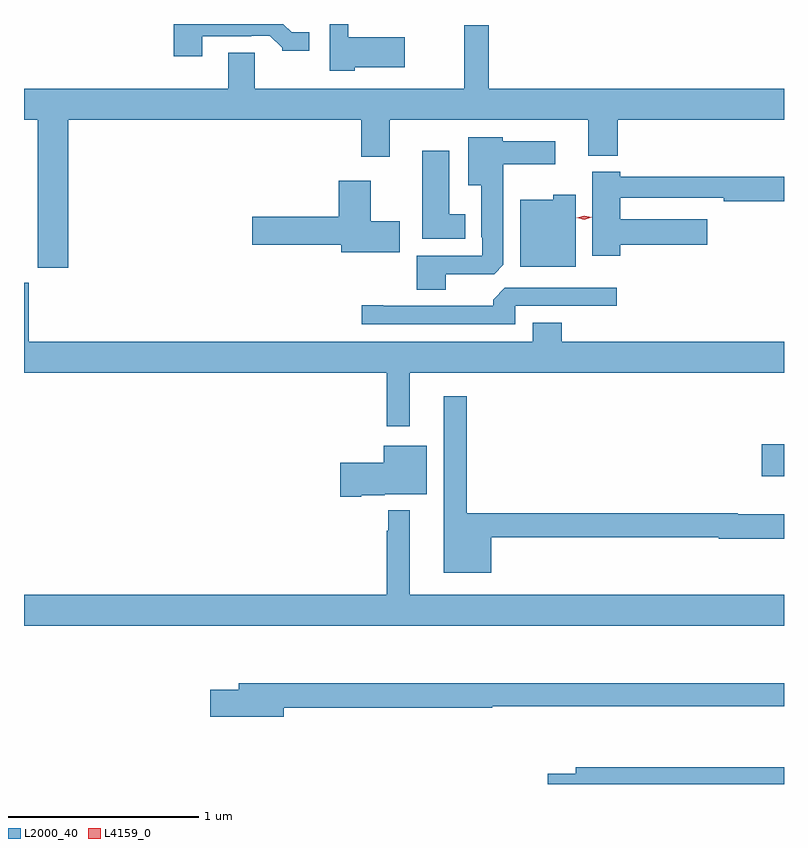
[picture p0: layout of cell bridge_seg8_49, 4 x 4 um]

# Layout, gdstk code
import gdstk
lib = gdstk.Library(unit=1e-6, precision=1e-09)
def R(c, l, rs):  # rectangles x0, y0, x1, y1
    for r in rs: c.add(gdstk.rectangle(r[:2], r[2:], *l))
def P(c, l, *ps):  # polygons
    for p in ps: c.add(gdstk.Polygon(p, *l))
L2000_40 = (2000, 40)
L4159_0 = (4159, 0)

bridge_seg8_49 = lib.new_cell('bridge_seg8_49')
R(bridge_seg8_49, L2000_40, [(1032.264,1122.617,1032.38,1122.783)])
P(bridge_seg8_49, L2000_40, [(1030.122,1124.768),(1030.384,1124.768),(1030.384,1124.926),(1030.086,1124.926),(1030.086,1124.996),(1029.99,1124.996),(1029.99,1124.75),(1030.122,1124.75)],
  [(1029.319,1124.931),(1029.575,1124.931),(1029.575,1124.934),(1029.674,1124.934),(1029.738,1124.87),(1029.738,1124.855),(1029.882,1124.855),(1029.882,1124.952),(1029.789,1124.952),(1029.745,1124.996),(1029.167,1124.996),(1029.167,1124.826),(1029.319,1124.826)],
  [(1028.612,1124.492),(1030.154,1124.492),(1030.154,1124.298),(1030.306,1124.298),(1030.306,1124.492),(1031.351,1124.492),(1031.351,1124.303),(1031.504,1124.303),(1031.504,1124.492),(1032.38,1124.492),(1032.38,1124.656),(1030.826,1124.656),(1030.826,1124.989),(1030.698,1124.989),(1030.698,1124.656),(1029.595,1124.656),(1029.595,1124.846),(1029.455,1124.846),(1029.455,1124.656),(1028.38,1124.656),(1028.38,1124.492),(1028.452,1124.492),(1028.452,1123.713),(1028.612,1123.713)],
  [(1030.6,1123.68),(1030.854,1123.68),(1030.903,1123.729),(1030.903,1124.258),(1031.176,1124.258),(1031.176,1124.38),(1030.899,1124.38),(1030.899,1124.401),(1030.718,1124.401),(1030.718,1124.147),(1030.787,1124.147),(1030.787,1123.873),(1030.791,1123.873),(1030.791,1123.776),(1030.448,1123.776),(1030.448,1123.597),(1030.6,1123.597)],
  [(1030.702,1123.996),(1030.618,1123.996),(1030.618,1124.329),(1030.475,1124.329),(1030.475,1123.865),(1030.702,1123.865)],
  [(1031.519,1123.835),(1031.977,1123.835),(1031.977,1123.969),(1031.519,1123.969),(1031.519,1124.082),(1032.064,1124.082),(1032.064,1124.062),(1032.38,1124.062),(1032.38,1124.191),(1031.519,1124.191),(1031.519,1124.218),(1031.372,1124.218),(1031.372,1123.776),(1031.519,1123.776)],
  [(1030.357,1123.959),(1030.204,1123.959),(1030.204,1124.17),(1030.037,1124.17),(1030.037,1123.982),(1029.582,1123.982),(1029.582,1123.835),(1030.049,1123.835),(1030.049,1123.796),(1030.357,1123.796)],
  [(1031.284,1124.098),(1031.166,1124.098),(1031.166,1124.071),(1030.991,1124.071),(1030.991,1123.718),(1031.284,1123.718)],
  [(1030.411,1123.16),(1032.38,1123.16),(1032.38,1123.324),(1031.21,1123.324),(1031.21,1123.423),(1031.057,1123.423),(1031.057,1123.324),(1028.404,1123.324),(1028.404,1123.633),(1028.38,1123.633),(1028.38,1123.16),(1030.29,1123.16),(1030.29,1122.879),(1030.411,1122.879)],
  [(1030.965,1123.512),(1031.5,1123.512),(1031.5,1123.608),(1030.911,1123.608),(1030.85,1123.546),(1030.85,1123.512),(1030.27,1123.512),(1030.27,1123.517),(1030.158,1123.517),(1030.158,1123.416),(1030.965,1123.416)],
  [(1030.84,1122.294),(1032.036,1122.294),(1032.036,1122.286),(1032.38,1122.286),(1032.38,1122.415),(1032.136,1122.415),(1032.136,1122.422),(1030.711,1122.422),(1030.711,1123.036),(1030.589,1123.036),(1030.589,1122.107),(1030.84,1122.107)],
  [(1030.156,1122.515),(1030.278,1122.515),(1030.278,1122.521),(1030.501,1122.521),(1030.501,1122.775),(1030.274,1122.775),(1030.274,1122.687),(1030.044,1122.687),(1030.044,1122.509),(1030.156,1122.509)],
  [(1032.38,1121.992),(1030.411,1121.992),(1030.411,1122.436),(1030.297,1122.436),(1030.297,1122.329),(1030.29,1122.329),(1030.29,1121.992),(1028.38,1121.992),(1028.38,1121.828),(1032.38,1121.828)],
  [(1029.748,1121.398),(1030.844,1121.398),(1030.844,1121.406),(1032.38,1121.406),(1032.38,1121.527),(1029.509,1121.527),(1029.509,1121.493),(1029.36,1121.493),(1029.36,1121.351),(1029.748,1121.351)],
  [(1032.38,1121.083),(1031.285,1121.083),(1031.285,1121.049),(1031.136,1121.049),(1031.136,1120.996),(1032.38,1120.996)])
P(bridge_seg8_49, L4159_0, [(1031.329,1123.967),(1031.29,1123.976),(1031.29,1123.976),(1031.29,1123.976),(1031.328,1123.987),(1031.367,1123.978),(1031.367,1123.978),(1031.367,1123.978)])

lib.write_gds('bridge_seg8_49.gds')
